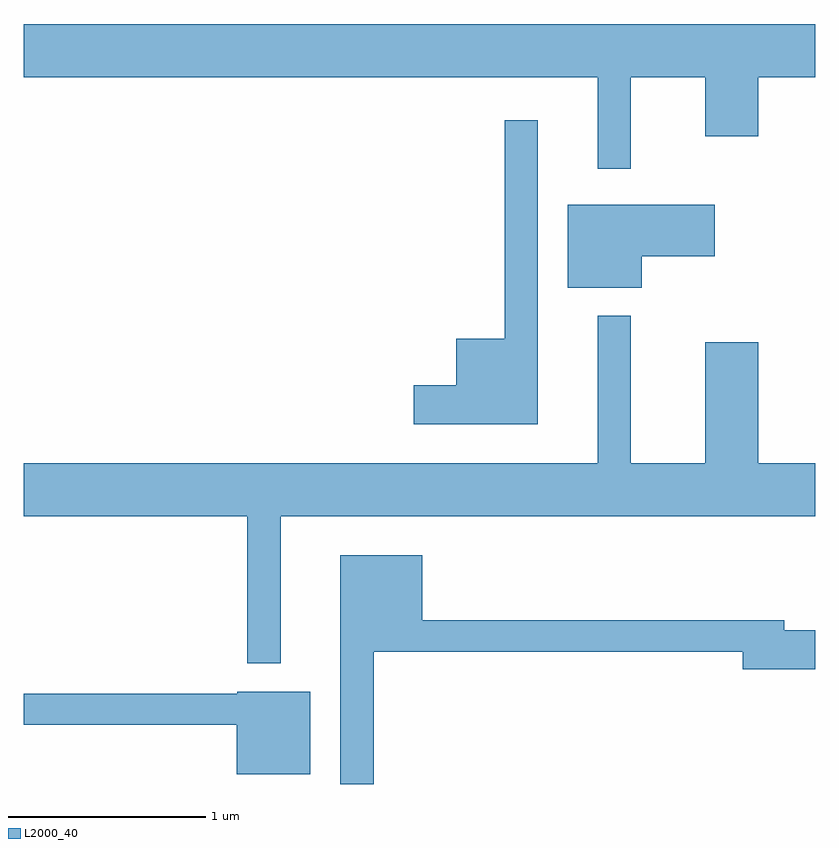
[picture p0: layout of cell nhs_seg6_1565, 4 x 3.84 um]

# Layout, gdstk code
import gdstk
lib = gdstk.Library(unit=1e-6, precision=1e-09)
def P(c, l, *ps):  # polygons
    for p in ps: c.add(gdstk.Polygon(p, *l))
L2000_40 = (2000, 40)

nhs_seg6_1565 = lib.new_cell('nhs_seg6_1565')
P(nhs_seg6_1565, L2000_40, [(234.679,1627.736),(235.056,1627.736),(235.056,1627.436),(235.324,1627.436),(235.324,1627.736),(235.611,1627.736),(235.611,1628.004),(231.611,1628.004),(231.611,1627.736),(234.511,1627.736),(234.511,1627.273),(234.679,1627.273)],
  [(234.209,1627.518),(234.041,1627.518),(234.041,1626.414),(233.796,1626.414),(233.796,1626.179),(233.581,1626.179),(233.581,1625.981),(234.209,1625.981)],
  [(234.734,1626.831),(235.104,1626.831),(235.104,1627.089),(234.361,1627.089),(234.361,1626.671),(234.734,1626.671)],
  [(232.909,1625.516),(235.611,1625.516),(235.611,1625.784),(235.324,1625.784),(235.324,1626.394),(235.056,1626.394),(235.056,1625.784),(234.679,1625.784),(234.679,1626.528),(234.511,1626.528),(234.511,1625.784),(231.611,1625.784),(231.611,1625.516),(232.741,1625.516),(232.741,1624.773),(232.909,1624.773)],
  [(233.379,1624.831),(235.246,1624.831),(235.246,1624.741),(235.611,1624.741),(235.611,1624.939),(235.454,1624.939),(235.454,1624.989),(233.624,1624.989),(233.624,1625.319),(233.211,1625.319),(233.211,1624.162),(233.379,1624.162)],
  [(233.059,1624.629),(232.69,1624.629),(232.69,1624.619),(231.611,1624.619),(231.611,1624.461),(232.686,1624.461),(232.686,1624.211),(233.059,1624.211)])

lib.write_gds('nhs_seg6_1565.gds')
